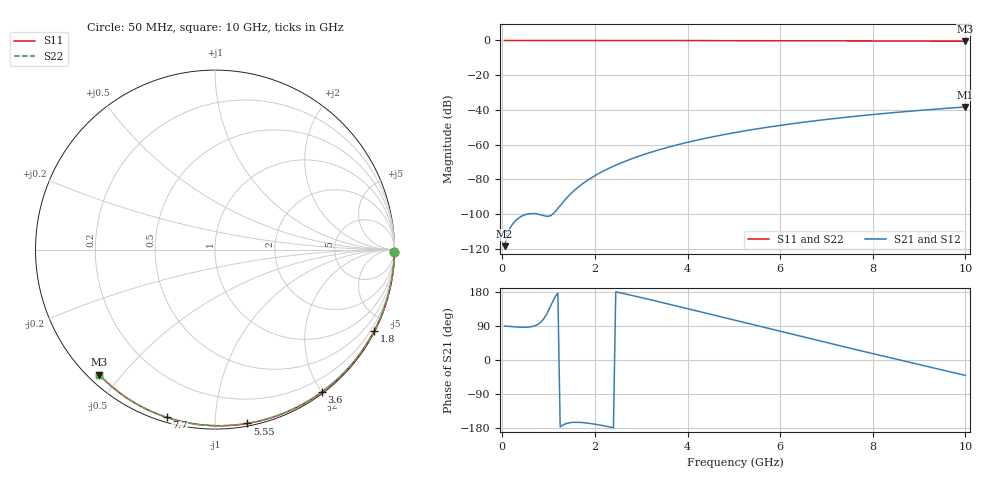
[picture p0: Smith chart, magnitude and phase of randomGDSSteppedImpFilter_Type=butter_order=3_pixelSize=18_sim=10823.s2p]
! freq	dB(S11)	phase(S11)	dB(S12)	phase(S12)
!  dB(S21)	phase(S21)	dB(S22)	phase(S22)
!S-par simulation data
#  GHz  S  DB  R 50
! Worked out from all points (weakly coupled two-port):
!   200 points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, 50 MHz to 10 GHz, reference 50 ohm
!   highest |S21| = -38.30 dB at 10 GHz (marker M1); lowest = -118.4 dB at 50 MHz (marker M2)
!   lowest |S11| = -0.5 dB at 10 GHz (marker M3), VSWR 38.57, Z = 1.54 - j21.8 ohm
!   |S11| at or under -10 dB: nowhere
!   |S22| runs from -0.5 to 0.0 dB; largest |S21 - S12| = 0
!   S11 on the Smith chart (normalised r, x): 50 MHz: open; 1.8 GHz: 0.04, -4.13; 3.6 GHz: 0.02, -2.00; 5.55 GHz: 0.02, -1.20; 7.7 GHz: 0.02, -0.75; 10 GHz: 0.03, -0.44
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0.05  -0.00 -0.8  -118.42 89.7  -118.42 89.7  -0.00 -0.8
0.9  -0.02 -13.7  -100.95 109.8  -100.95 109.8  -0.02 -13.7
1.75  -0.03 -26.5  -82.19 -165.4  -82.19 -165.4  -0.03 -26.5
1.8  -0.03 -27.2  -81.24 -166.0  -81.24 -166.0  -0.03 -27.2
1.85  -0.04 -28.0  -80.35 -166.7  -80.35 -166.7  -0.04 -28.0
1.9  -0.04 -28.7  -79.49 -167.6  -79.49 -167.6  -0.04 -28.7
2.05  -0.04 -30.9  -77.10 -170.5  -77.10 -170.5  -0.04 -30.9
2.25  -0.04 -33.9  -74.28 -175.0  -74.28 -175.0  -0.04 -33.9
2.45  -0.05 -36.8  -71.80 179.9  -71.80 179.9  -0.05 -36.8
2.65  -0.05 -39.7  -69.57 174.6  -69.57 174.6  -0.05 -39.7
3  -0.06 -44.7  -66.16 164.8  -66.16 164.8  -0.06 -44.7
3.4  -0.07 -50.4  -62.82 153.2  -62.82 153.2  -0.07 -50.4
3.6  -0.07 -53.2  -61.33 147.3  -61.33 147.3  -0.07 -53.2
4.3  -0.09 -62.9  -56.82 126.4  -56.82 126.4  -0.09 -62.9
5.05  -0.11 -72.9  -52.90 104.0  -52.90 104.0  -0.11 -72.9
5.55  -0.13 -79.5  -50.68 89.0  -50.68 89.0  -0.13 -79.5
6.1  -0.15 -86.5  -48.51 72.6  -48.51 72.6  -0.15 -86.5
6.7  -0.18 -94.0  -46.41 54.8  -46.41 54.8  -0.18 -94.0
7.7  -0.24 -106.1  -43.44 25.5  -43.44 25.5  -0.24 -106.1
8.35  -0.29 -113.8  -41.78 6.7  -41.78 6.7  -0.29 -113.8
9.15  -0.36 -123.1  -39.97 -16.3  -39.97 -16.3  -0.36 -123.1
10  -0.45 -132.9  -38.30 -40.6  -38.30 -40.6  -0.45 -132.9
